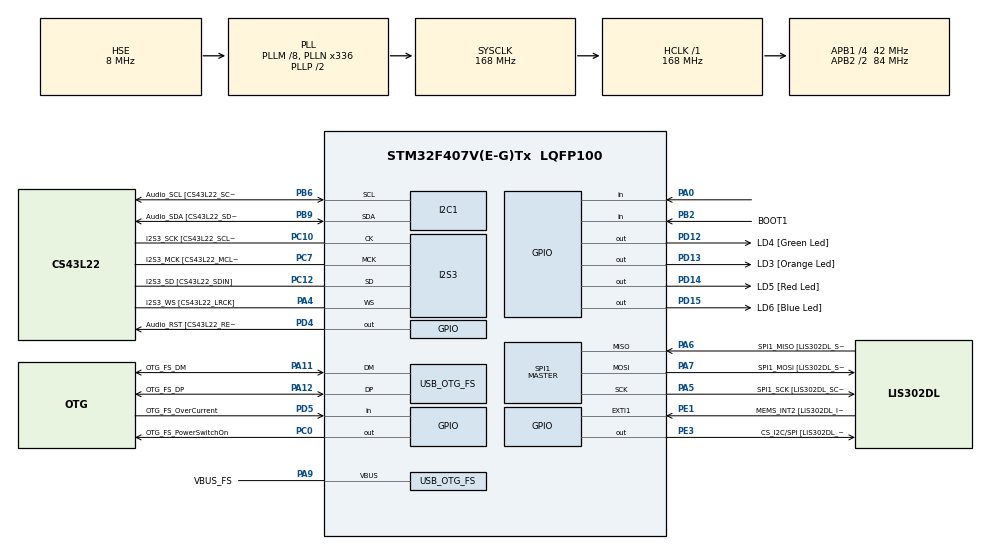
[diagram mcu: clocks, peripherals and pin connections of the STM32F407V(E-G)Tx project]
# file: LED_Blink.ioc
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I2S3.AudioFreq-Half_Duplex_Master=I2S_AUDIOFREQ_96K
I2S3.ErrorAudioFreq=-2.34 %
I2S3.ErrorAudioFreq-Half_Duplex_Master=0.8 %
I2S3.FullDuplexMode=I2S_FULLDUPLEXMODE_DISABLE
I2S3.Instance=SPI$Index
I2S3.RealAudioFreq=93.75 KHz
I2S3.RealAudioFreq-Half_Duplex_Master=96.774 KHz
I2S3.VirtualMode=I2S_MODE_MASTER
Mcu.Family=STM32F4
Mcu.Name=STM32F407V(E-G)Tx
Mcu.Package=LQFP100
NVIC.OTG_FS_IRQn=true\:0\:0\:false\:false\:true\:true\:true
NVIC.PriorityGroup=NVIC_PRIORITYGROUP_0
PA0-WKUP.Signal=GPIO_Input
PA10.GPIO_Label=OTG_FS_ID
PA10.GPIO_Mode=GPIO_MODE_AF_PP
PA10.GPIO_PuPd=GPIO_NOPULL
PA10.GPIO_Speed=GPIO_SPEED_FREQ_LOW
PA10.Signal=USB_OTG_FS_ID
PA11.GPIO_Label=OTG_FS_DM
PA11.GPIO_Mode=GPIO_MODE_AF_PP
PA11.GPIO_PuPd=GPIO_NOPULL
PA11.GPIO_Speed=GPIO_SPEED_FREQ_LOW
PA11.Mode=Host_Only
PA11.Signal=USB_OTG_FS_DM
PA12.GPIO_Label=OTG_FS_DP
PA12.GPIO_Mode=GPIO_MODE_AF_PP
PA12.GPIO_PuPd=GPIO_NOPULL
PA12.GPIO_Speed=GPIO_SPEED_FREQ_LOW
PA12.Mode=Host_Only
PA12.Signal=USB_OTG_FS_DP
PA13.GPIO_Label=SWDIO
PA13.Mode=Serial_Wire
PA13.Signal=SYS_JTMS-SWDIO
PA14.GPIO_Label=SWCLK
PA14.Mode=Serial_Wire
PA14.Signal=SYS_JTCK-SWCLK
PA4.GPIO_Label=I2S3_WS [CS43L22_LRCK]
PA4.GPIO_Mode=GPIO_MODE_AF_PP
PA4.GPIO_PuPd=GPIO_NOPULL
PA4.GPIO_Speed=GPIO_SPEED_FREQ_LOW
PA4.Mode=Half_Duplex_Master
PA4.Signal=I2S3_WS
PA5.GPIO_Label=SPI1_SCK [LIS302DL_SCL/SPC]
PA5.GPIO_Mode=GPIO_MODE_AF_PP
PA5.GPIO_PuPd=GPIO_NOPULL
PA5.GPIO_Speed=GPIO_SPEED_FREQ_LOW
PA5.Mode=Full_Duplex_Master
PA5.Signal=SPI1_SCK
PA6.GPIO_Label=SPI1_MISO [LIS302DL_SDO]
PA6.GPIO_Mode=GPIO_MODE_AF_PP
PA6.GPIO_PuPd=GPIO_NOPULL
PA6.GPIO_Speed=GPIO_SPEED_FREQ_LOW
PA6.Mode=Full_Duplex_Master
PA6.Signal=SPI1_MISO
PA7.GPIO_Label=SPI1_MOSI [LIS302DL_SDA/SDI/SDO]
PA7.GPIO_Mode=GPIO_MODE_AF_PP
PA7.GPIO_PuPd=GPIO_NOPULL
PA7.GPIO_Speed=GPIO_SPEED_FREQ_LOW
PA7.Mode=Full_Duplex_Master
PA7.Signal=SPI1_MOSI
PA9.GPIO_Label=VBUS_FS
PA9.GPIO_Mode=GPIO_MODE_INPUT
PA9.GPIO_PuPd=GPIO_NOPULL
PA9.Mode=Activate_VBUS
PA9.Signal=USB_OTG_FS_VBUS
PB10.GPIO_Label=CLK_IN [MP45DT02_CLK]
PB10.GPIO_Mode=GPIO_MODE_AF_PP
PB10.GPIO_PuPd=GPIO_NOPULL
PB10.GPIO_Speed=GPIO_SPEED_FREQ_LOW
PB10.Signal=I2S2_CK
PB2.GPIO_Label=BOOT1
PB2.GPIO_Mode=GPIO_MODE_INPUT
PB2.GPIO_PuPd=GPIO_NOPULL
PB2.Signal=GPIO_Input
PB3.GPIO_Label=SWO
PB3.Signal=SYS_JTDO-SWO
PB6.GPIO_Label=Audio_SCL [CS43L22_SCL]
PB6.GPIO_Mode=GPIO_MODE_AF_OD
PB6.GPIO_PuPd=GPIO_NOPULL
PB6.GPIO_Speed=GPIO_SPEED_FREQ_LOW
PB6.Mode=I2C
PB6.Signal=I2C1_SCL
PB9.GPIO_Label=Audio_SDA [CS43L22_SDA]
PB9.GPIO_Mode=GPIO_MODE_AF_OD
PB9.GPIO_PuPd=GPIO_NOPULL
PB9.GPIO_Speed=GPIO_SPEED_FREQ_LOW
PB9.Mode=I2C
PB9.Signal=I2C1_SDA
PC0.GPIO_Label=OTG_FS_PowerSwitchOn
PC0.GPIO_PuPd=GPIO_NOPULL
PC0.GPIO_Speed=GPIO_SPEED_FREQ_LOW
PC0.PinState=GPIO_PIN_SET
PC0.Signal=GPIO_Output
PC10.GPIO_Label=I2S3_SCK [CS43L22_SCLK]
PC10.GPIO_Mode=GPIO_MODE_AF_PP
PC10.GPIO_PuPd=GPIO_NOPULL
PC10.GPIO_Speed=GPIO_SPEED_FREQ_LOW
PC10.Mode=Half_Duplex_Master
PC10.Signal=I2S3_CK
PC12.GPIO_Label=I2S3_SD [CS43L22_SDIN]
PC12.GPIO_Mode=GPIO_MODE_AF_PP
PC12.GPIO_PuPd=GPIO_NOPULL
PC12.GPIO_Speed=GPIO_SPEED_FREQ_LOW
PC12.Mode=Half_Duplex_Master
PC12.Signal=I2S3_SD
PC14-OSC32_IN.GPIO_Label=PC14-OSC32_IN
PC14-OSC32_IN.Mode=LSE-External-Oscillator
PC14-OSC32_IN.Signal=RCC_OSC32_IN
PC15-OSC32_OUT.GPIO_Label=PC15-OSC32_OUT
PC15-OSC32_OUT.Mode=LSE-External-Oscillator
PC15-OSC32_OUT.Signal=RCC_OSC32_OUT
PC3.GPIO_Label=PDM_OUT [MP45DT02_DOUT]
PC3.GPIO_Mode=GPIO_MODE_AF_PP
PC3.GPIO_PuPd=GPIO_NOPULL
PC3.GPIO_Speed=GPIO_SPEED_FREQ_LOW
PC3.Signal=I2S2_SD
PC7.GPIO_Label=I2S3_MCK [CS43L22_MCLK]
PC7.GPIO_Mode=GPIO_MODE_AF_PP
PC7.GPIO_PuPd=GPIO_NOPULL
PC7.GPIO_Speed=GPIO_SPEED_FREQ_LOW
PC7.Mode=Master_Clock_Activated
PC7.Signal=I2S3_MCK
PD12.GPIO_Label=LD4 [Green Led]
PD12.GPIO_PuPd=GPIO_NOPULL
PD12.GPIO_Speed=GPIO_SPEED_FREQ_LOW
PD12.Signal=GPIO_Output
PD13.GPIO_Label=LD3 [Orange Led]
PD13.GPIO_PuPd=GPIO_NOPULL
PD13.GPIO_Speed=GPIO_SPEED_FREQ_LOW
PD13.Signal=GPIO_Output
PD14.GPIO_Label=LD5 [Red Led]
PD14.GPIO_PuPd=GPIO_NOPULL
PD14.GPIO_Speed=GPIO_SPEED_FREQ_LOW
PD14.Signal=GPIO_Output
PD15.GPIO_Label=LD6 [Blue Led]
PD15.GPIO_PuPd=GPIO_NOPULL
PD15.GPIO_Speed=GPIO_SPEED_FREQ_LOW
PD15.Signal=GPIO_Output
PD4.GPIO_Label=Audio_RST [CS43L22_RESET]
PD4.GPIO_PuPd=GPIO_NOPULL
PD4.GPIO_Speed=GPIO_SPEED_FREQ_LOW
PD4.Signal=GPIO_Output
PD5.GPIO_Label=OTG_FS_OverCurrent
PD5.GPIO_Mode=GPIO_MODE_INPUT
PD5.GPIO_PuPd=GPIO_NOPULL
PD5.Signal=GPIO_Input
PE1.GPIO_Label=MEMS_INT2 [LIS302DL_INT2]
PE1.GPIO_ModeDefaultEXTI=GPIO_MODE_EVT_RISING
PE1.GPIO_PuPd=GPIO_NOPULL
PE1.Signal=GPXTI1
PE3.GPIO_Label=CS_I2C/SPI [LIS302DL_CS_I2C/SPI]
PE3.GPIO_PuPd=GPIO_NOPULL
PE3.GPIO_Speed=GPIO_SPEED_FREQ_LOW
PE3.Signal=GPIO_Output
PH0-OSC_IN.GPIO_Label=PH0-OSC_IN
PH0-OSC_IN.Mode=HSE-External-Oscillator
PH0-OSC_IN.Signal=RCC_OSC_IN
PH1-OSC_OUT.GPIO_Label=PH1-OSC_OUT
PH1-OSC_OUT.Mode=HSE-External-Oscillator
PH1-OSC_OUT.Signal=RCC_OSC_OUT
ProjectManager.HeapSize=0x200
ProjectManager.StackSize=0x400
ProjectManager.TargetToolchain=SW4STM32
RCC.48MHZClocksFreq_Value=48000000
RCC.AHBFreq_Value=168000000
RCC.APB1CLKDivider=RCC_HCLK_DIV4
RCC.APB1Freq_Value=42000000
RCC.APB1TimFreq_Value=84000000
RCC.APB2CLKDivider=RCC_HCLK_DIV2
RCC.APB2Freq_Value=84000000
RCC.APB2TimFreq_Value=168000000
RCC.CortexFreq_Value=168000000
RCC.HCLKFreq_Value=168000000
RCC.HSE_VALUE=8000000
RCC.HSI_VALUE=16000000
RCC.PLLM=8
RCC.PLLN=336
RCC.PLLQ=7
RCC.SYSCLKFreq_VALUE=168000000
RCC.SYSCLKSource=RCC_SYSCLKSOURCE_PLLCLK
RCC.VCOOutputFreq_Value=336000000
SPI1.BaudRatePrescaler-Full_Duplex_Master=SPI_BAUDRATEPRESCALER_2
SPI1.CalculateBaudRate-Full_Duplex_Master=42.0 MBits/s
SPI1.Direction=SPI_DIRECTION_2LINES
SPI1.Mode=SPI_MODE_MASTER
SPI1.Mode-Full_Duplex_Master=SPI_MODE_MASTER
SPI1.VirtualType=VM_MASTER
USB_HOST.BSP.number=1
USB_HOST.USBH_HandleTypeDef-CDC_FS=hUsbHostFS
USB_HOST.VirtualModeFS=Cdc
USB_HOST0.BSP.STBoard=false
USB_HOST0.BSP.api=Unknown
USB_HOST0.BSP.i2caddr=0
USB_HOST0.BSP.i2creg=0
USB_HOST0.BSP.instance=PC0
USB_HOST0.BSP.ip=GPIO
USB_HOST0.BSP.mode=Output
USB_HOST0.BSP.name=Drive_VBUS_FS
USB_HOST0.BSP.solution=PC0
USB_OTG_FS.VirtualMode=Host_Only
USB_OTG_FS.phy_itface=HCD_PHY_EMBEDDED
VP_USB_HOST_VS_USB_HOST_CDC_FS.Mode=CDC_FS
board=STM32F407G-DISC1

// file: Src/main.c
/* USER CODE BEGIN Header */
/**
  ******************************************************************************
  * @file           : main.c
  * @brief          : Main program body
  ******************************************************************************
  * @attention
  *
  * <h2><center>&copy; Copyright (c) 2019 STMicroelectronics.
  * All rights reserved.</center></h2>
  *
  * This software component is licensed by ST under Ultimate Liberty license
  * SLA0044, the "License"; You may not use this file except in compliance with
  * the License. You may obtain a copy of the License at:
  *                             www.st.com/SLA0044
  *
  ******************************************************************************
  */
/* USER CODE END Header */

#include "main.h"
#include "usb_host.h"

I2C_HandleTypeDef hi2c1;

I2S_HandleTypeDef hi2s3;

SPI_HandleTypeDef hspi1;

void SystemClock_Config(void);
static void MX_GPIO_Init(void);
static void MX_I2C1_Init(void);
static void MX_I2S3_Init(void);
static void MX_SPI1_Init(void);
void MX_USB_HOST_Process(void);

int main(void)
{
  /* USER CODE BEGIN 1 */

  GPIO_PinState blueButton;
  int buttonCount = 0;

  /* USER CODE END 1 */

  /* MCU Configuration--------------------------------------------------------*/

  /* Reset of all peripherals, Initializes the Flash interface and the Systick. */
  HAL_Init();

  /* Configure the system clock */
  SystemClock_Config();

  /* Initialize all configured peripherals */
  MX_GPIO_Init();
  MX_I2C1_Init();
  MX_I2S3_Init();
  MX_SPI1_Init();
  MX_USB_HOST_Init();

  /* Infinite loop */
  while (1)
  {
    MX_USB_HOST_Process();

    /* USER CODE BEGIN 3 */
    blueButton = HAL_GPIO_ReadPin(GPIOA, GPIO_PIN_0);
    HAL_Delay(100);
    switch(buttonCount)
    {
    	case 0:
    		if(blueButton == 1)
    		{
    		 	HAL_GPIO_WritePin(GPIOD, GPIO_PIN_12, blueButton);
    		 	buttonCount += 1;
    		 	HAL_Delay(500);
    		}
    		break;
    	case 1:
    	    if(blueButton == 1)
    	    {
    	    	HAL_GPIO_WritePin(GPIOD, GPIO_PIN_13, blueButton);
    	    	buttonCount += 1;
    	    	HAL_Delay(100);
    	    }
    	    break;
    	case 2:
    	    if(blueButton == 1)
    	    {
    	       	HAL_GPIO_WritePin(GPIOD, GPIO_PIN_14, blueButton);
    	       	buttonCount += 1;
    	       	HAL_Delay(100);
    	    }
    	    break;
    	case 3:
    	    if(blueButton == 1)
    	    {
    	      	HAL_GPIO_WritePin(GPIOD, GPIO_PIN_15, blueButton);
    	       	buttonCount += 1;
    	       	HAL_Delay(100);
    	    }
    	    break;
    	case 4:
    		if(blueButton == 1)
    		{
    			buttonCount += 1;
    		}
    		break;
    	default:
    		HAL_GPIO_WritePin(GPIOD, GPIO_PIN_12, 0);
    		HAL_GPIO_WritePin(GPIOD, GPIO_PIN_13, 0);
    		HAL_GPIO_WritePin(GPIOD, GPIO_PIN_14, 0);
    		HAL_GPIO_WritePin(GPIOD, GPIO_PIN_15, 0);
    		buttonCount = 0;
    		HAL_Delay(100);
    		break;
    }

/*
    HAL_GPIO_TogglePin(GPIOD, GPIO_PIN_12);
    HAL_Delay(500);
    HAL_GPIO_TogglePin(GPIOD, GPIO_PIN_12);

    HAL_GPIO_TogglePin(GPIOD, GPIO_PIN_13);
    HAL_Delay(500);
    HAL_GPIO_TogglePin(GPIOD, GPIO_PIN_13);

    HAL_GPIO_TogglePin(GPIOD, GPIO_PIN_14);
    HAL_Delay(500);
    HAL_GPIO_TogglePin(GPIOD, GPIO_PIN_14);

    HAL_GPIO_TogglePin(GPIOD, GPIO_PIN_15);
    HAL_Delay(500);
    HAL_GPIO_TogglePin(GPIOD, GPIO_PIN_15);

    HAL_GPIO_TogglePin(GPIOD, GPIO_PIN_12|GPIO_PIN_13|GPIO_PIN_14|GPIO_PIN_15);
    HAL_Delay(1000);
    HAL_GPIO_TogglePin(GPIOD, GPIO_PIN_12|GPIO_PIN_13|GPIO_PIN_14|GPIO_PIN_15);
*/
  }
  /* USER CODE END 3 */
}

void SystemClock_Config(void)
{
  RCC_OscInitTypeDef RCC_OscInitStruct = {0};
  RCC_ClkInitTypeDef RCC_ClkInitStruct = {0};
  RCC_PeriphCLKInitTypeDef PeriphClkInitStruct = {0};

  /** Configure the main internal regulator output voltage
  */
  __HAL_RCC_PWR_CLK_ENABLE();
  __HAL_PWR_VOLTAGESCALING_CONFIG(PWR_REGULATOR_VOLTAGE_SCALE1);
  /** Initializes the CPU, AHB and APB busses clocks
  */
  RCC_OscInitStruct.OscillatorType = RCC_OSCILLATORTYPE_HSE;
  RCC_OscInitStruct.HSEState = RCC_HSE_ON;
  RCC_OscInitStruct.PLL.PLLState = RCC_PLL_ON;
  RCC_OscInitStruct.PLL.PLLSource = RCC_PLLSOURCE_HSE;
  RCC_OscInitStruct.PLL.PLLM = 8;
  RCC_OscInitStruct.PLL.PLLN = 336;
  RCC_OscInitStruct.PLL.PLLP = RCC_PLLP_DIV2;
  RCC_OscInitStruct.PLL.PLLQ = 7;
  if (HAL_RCC_OscConfig(&RCC_OscInitStruct) != HAL_OK)
  {
    Error_Handler();
  }
  /** Initializes the CPU, AHB and APB busses clocks
  */
  RCC_ClkInitStruct.ClockType = RCC_CLOCKTYPE_HCLK|RCC_CLOCKTYPE_SYSCLK
                              |RCC_CLOCKTYPE_PCLK1|RCC_CLOCKTYPE_PCLK2;
  RCC_ClkInitStruct.SYSCLKSource = RCC_SYSCLKSOURCE_PLLCLK;
  RCC_ClkInitStruct.AHBCLKDivider = RCC_SYSCLK_DIV1;
  RCC_ClkInitStruct.APB1CLKDivider = RCC_HCLK_DIV4;
  RCC_ClkInitStruct.APB2CLKDivider = RCC_HCLK_DIV2;

  if (HAL_RCC_ClockConfig(&RCC_ClkInitStruct, FLASH_LATENCY_5) != HAL_OK)
  {
    Error_Handler();
  }
  PeriphClkInitStruct.PeriphClockSelection = RCC_PERIPHCLK_I2S;
  PeriphClkInitStruct.PLLI2S.PLLI2SN = 192;
  PeriphClkInitStruct.PLLI2S.PLLI2SR = 2;
  if (HAL_RCCEx_PeriphCLKConfig(&PeriphClkInitStruct) != HAL_OK)
  {
    Error_Handler();
  }
}

static void MX_I2C1_Init(void)
{

  hi2c1.Instance = I2C1;
  hi2c1.Init.ClockSpeed = 100000;
  hi2c1.Init.DutyCycle = I2C_DUTYCYCLE_2;
  hi2c1.Init.OwnAddress1 = 0;
  hi2c1.Init.AddressingMode = I2C_ADDRESSINGMODE_7BIT;
  hi2c1.Init.DualAddressMode = I2C_DUALADDRESS_DISABLE;
  hi2c1.Init.OwnAddress2 = 0;
  hi2c1.Init.GeneralCallMode = I2C_GENERALCALL_DISABLE;
  hi2c1.Init.NoStretchMode = I2C_NOSTRETCH_DISABLE;
  if (HAL_I2C_Init(&hi2c1) != HAL_OK)
  {
    Error_Handler();
  }

}

static void MX_I2S3_Init(void)
{

  hi2s3.Instance = SPI3;
  hi2s3.Init.Mode = I2S_MODE_MASTER_TX;
  hi2s3.Init.Standard = I2S_STANDARD_PHILIPS;
  hi2s3.Init.DataFormat = I2S_DATAFORMAT_16B;
  hi2s3.Init.MCLKOutput = I2S_MCLKOUTPUT_ENABLE;
  hi2s3.Init.AudioFreq = I2S_AUDIOFREQ_96K;
  hi2s3.Init.CPOL = I2S_CPOL_LOW;
  hi2s3.Init.ClockSource = I2S_CLOCK_PLL;
  hi2s3.Init.FullDuplexMode = I2S_FULLDUPLEXMODE_DISABLE;
  if (HAL_I2S_Init(&hi2s3) != HAL_OK)
  {
    Error_Handler();
  }

}

static void MX_SPI1_Init(void)
{

  /* SPI1 parameter configuration*/
  hspi1.Instance = SPI1;
  hspi1.Init.Mode = SPI_MODE_MASTER;
  hspi1.Init.Direction = SPI_DIRECTION_2LINES;
  hspi1.Init.DataSize = SPI_DATASIZE_8BIT;
  hspi1.Init.CLKPolarity = SPI_POLARITY_LOW;
  hspi1.Init.CLKPhase = SPI_PHASE_1EDGE;
  hspi1.Init.NSS = SPI_NSS_SOFT;
  hspi1.Init.BaudRatePrescaler = SPI_BAUDRATEPRESCALER_2;
  hspi1.Init.FirstBit = SPI_FIRSTBIT_MSB;
  hspi1.Init.TIMode = SPI_TIMODE_DISABLE;
  hspi1.Init.CRCCalculation = SPI_CRCCALCULATION_DISABLE;
  hspi1.Init.CRCPolynomial = 10;
  if (HAL_SPI_Init(&hspi1) != HAL_OK)
  {
    Error_Handler();
  }

}

static void MX_GPIO_Init(void)
{
  GPIO_InitTypeDef GPIO_InitStruct = {0};

  /* GPIO Ports Clock Enable */
  __HAL_RCC_GPIOE_CLK_ENABLE();
  __HAL_RCC_GPIOC_CLK_ENABLE();
  __HAL_RCC_GPIOH_CLK_ENABLE();
  __HAL_RCC_GPIOA_CLK_ENABLE();
  __HAL_RCC_GPIOB_CLK_ENABLE();
  __HAL_RCC_GPIOD_CLK_ENABLE();

  /*Configure GPIO pin Output Level */
  HAL_GPIO_WritePin(CS_I2C_SPI_GPIO_Port, CS_I2C_SPI_Pin, GPIO_PIN_RESET);

  /*Configure GPIO pin Output Level */
  HAL_GPIO_WritePin(OTG_FS_PowerSwitchOn_GPIO_Port, OTG_FS_PowerSwitchOn_Pin, GPIO_PIN_SET);

  /*Configure GPIO pin Output Level */
  HAL_GPIO_WritePin(GPIOD, LD4_Pin|LD3_Pin|LD5_Pin|LD6_Pin
                          |Audio_RST_Pin, GPIO_PIN_RESET);

  /*Configure GPIO pin : CS_I2C_SPI_Pin */
  GPIO_InitStruct.Pin = CS_I2C_SPI_Pin;
  GPIO_InitStruct.Mode = GPIO_MODE_OUTPUT_PP;
  GPIO_InitStruct.Pull = GPIO_NOPULL;
  GPIO_InitStruct.Speed = GPIO_SPEED_FREQ_LOW;
  HAL_GPIO_Init(CS_I2C_SPI_GPIO_Port, &GPIO_InitStruct);

  /*Configure GPIO pin : OTG_FS_PowerSwitchOn_Pin */
  GPIO_InitStruct.Pin = OTG_FS_PowerSwitchOn_Pin;
  GPIO_InitStruct.Mode = GPIO_MODE_OUTPUT_PP;
  GPIO_InitStruct.Pull = GPIO_NOPULL;
  GPIO_InitStruct.Speed = GPIO_SPEED_FREQ_LOW;
  HAL_GPIO_Init(OTG_FS_PowerSwitchOn_GPIO_Port, &GPIO_InitStruct);

  /*Configure GPIO pin : PDM_OUT_Pin */
  GPIO_InitStruct.Pin = PDM_OUT_Pin;
  GPIO_InitStruct.Mode = GPIO_MODE_AF_PP;
  GPIO_InitStruct.Pull = GPIO_NOPULL;
  GPIO_InitStruct.Speed = GPIO_SPEED_FREQ_LOW;
  GPIO_InitStruct.Alternate = GPIO_AF5_SPI2;
  HAL_GPIO_Init(PDM_OUT_GPIO_Port, &GPIO_InitStruct);

  /*Configure GPIO pin : PA0 */
  GPIO_InitStruct.Pin = GPIO_PIN_0;
  GPIO_InitStruct.Mode = GPIO_MODE_INPUT;
  GPIO_InitStruct.Pull = GPIO_NOPULL;
  HAL_GPIO_Init(GPIOA, &GPIO_InitStruct);

  /*Configure GPIO pin : BOOT1_Pin */
  GPIO_InitStruct.Pin = BOOT1_Pin;
  GPIO_InitStruct.Mode = GPIO_MODE_INPUT;
  GPIO_InitStruct.Pull = GPIO_NOPULL;
  HAL_GPIO_Init(BOOT1_GPIO_Port, &GPIO_InitStruct);

  /*Configure GPIO pin : CLK_IN_Pin */
  GPIO_InitStruct.Pin = CLK_IN_Pin;
  GPIO_InitStruct.Mode = GPIO_MODE_AF_PP;
  GPIO_InitStruct.Pull = GPIO_NOPULL;
  GPIO_InitStruct.Speed = GPIO_SPEED_FREQ_LOW;
  GPIO_InitStruct.Alternate = GPIO_AF5_SPI2;
  HAL_GPIO_Init(CLK_IN_GPIO_Port, &GPIO_InitStruct);

  /*Configure GPIO pins : LD4_Pin LD3_Pin LD5_Pin LD6_Pin
                           Audio_RST_Pin */
  GPIO_InitStruct.Pin = LD4_Pin|LD3_Pin|LD5_Pin|LD6_Pin
                          |Audio_RST_Pin;
  GPIO_InitStruct.Mode = GPIO_MODE_OUTPUT_PP;
  GPIO_InitStruct.Pull = GPIO_NOPULL;
  GPIO_InitStruct.Speed = GPIO_SPEED_FREQ_LOW;
  HAL_GPIO_Init(GPIOD, &GPIO_InitStruct);

  /*Configure GPIO pin : OTG_FS_OverCurrent_Pin */
  GPIO_InitStruct.Pin = OTG_FS_OverCurrent_Pin;
  GPIO_InitStruct.Mode = GPIO_MODE_INPUT;
  GPIO_InitStruct.Pull = GPIO_NOPULL;
  HAL_GPIO_Init(OTG_FS_OverCurrent_GPIO_Port, &GPIO_InitStruct);

  /*Configure GPIO pin : MEMS_INT2_Pin */
  GPIO_InitStruct.Pin = MEMS_INT2_Pin;
  GPIO_InitStruct.Mode = GPIO_MODE_EVT_RISING;
  GPIO_InitStruct.Pull = GPIO_NOPULL;
  HAL_GPIO_Init(MEMS_INT2_GPIO_Port, &GPIO_InitStruct);

}

void Error_Handler(void)
{
}

/************************ (C) COPYRIGHT STMicroelectronics *****END OF FILE****/
